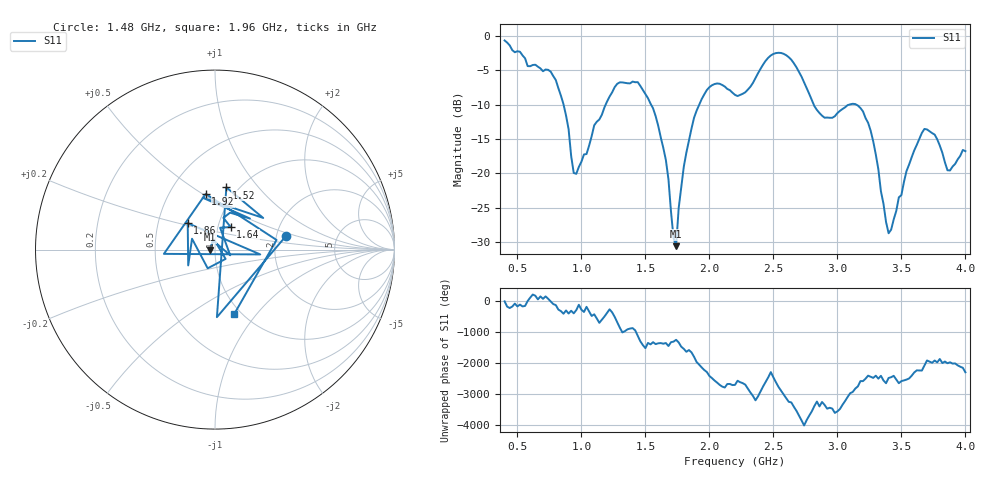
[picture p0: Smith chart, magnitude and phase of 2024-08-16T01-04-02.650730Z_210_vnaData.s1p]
!Created with skrf (http://scikit-rf.org).
# Hz S RI R 50.0
!freq ReS11 ImS11
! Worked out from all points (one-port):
!   181 points, 400 MHz to 4 GHz, reference 50 ohm
!   lowest |S11| = -30.6 dB at 1.74 GHz (marker M1), VSWR 1.06, Z = 47.1 - j0.0195 ohm
!   |S11| at or under -10 dB: 860.6 MHz to 1.19 GHz (329.1 MHz wide, 32.1 % of centre); 1.544 GHz to 1.921 GHz (377 MHz wide, 21.8 % of centre); 3.147 GHz to end of sweep (the widest 3 of 4)
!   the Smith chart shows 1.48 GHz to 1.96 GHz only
!   S11 on the Smith chart (normalised r, x): 1.48 GHz: 2.26, +0.41; 1.52 GHz: 0.88, +0.69; 1.64 GHz: 1.15, +0.30; 1.86 GHz: 0.71, +0.22; 1.92 GHz: 0.75, +0.52; 1.96 GHz: 0.93, -0.78
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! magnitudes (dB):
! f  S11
! 400 MHz  -0.7
! 760 MHz  -5.2
! 860 MHz  -9.9
! 940 MHz  -19.9
! 960 MHz  -20.1
! 1.3 GHz  -6.8
! 1.48 GHz  -7.9
! 1.52 GHz  -9.1
! 1.64 GHz  -16.3
! 1.68 GHz  -20.8
! 1.72 GHz  -29.4
! 1.74 GHz  -30.6
! 1.76 GHz  -25.0
! 1.86 GHz  -13.5
! 1.92 GHz  -10.0
! 1.96 GHz  -8.5
! 2.2 GHz  -8.6
! 2.5 GHz  -2.6
! 2.66 GHz  -4.0
! 2.9 GHz  -11.9
! 3.1 GHz  -10.0
! 3.26 GHz  -13.8
! 3.4 GHz  -28.7
! 3.56 GHz  -18.7
! 3.68 GHz  -13.5
! 3.76 GHz  -14.4
! 3.86 GHz  -19.5
! 4 GHz  -16.8
